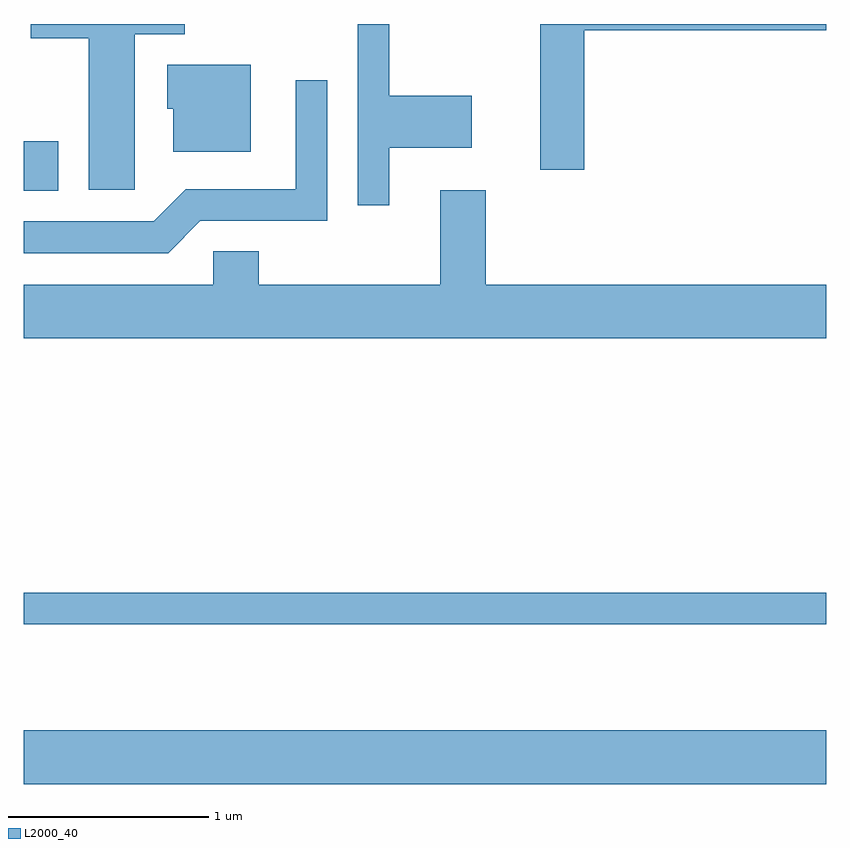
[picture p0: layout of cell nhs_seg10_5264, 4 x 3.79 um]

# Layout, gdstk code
import gdstk
lib = gdstk.Library(unit=1e-6, precision=1e-09)
def R(c, l, rs):  # rectangles x0, y0, x1, y1
    for r in rs: c.add(gdstk.rectangle(r[:2], r[2:], *l))
def P(c, l, *ps):  # polygons
    for p in ps: c.add(gdstk.Polygon(p, *l))
L2000_40 = (2000, 40)

nhs_seg10_5264 = lib.new_cell('nhs_seg10_5264')
R(nhs_seg10_5264, L2000_40, [(339.611,2182.736,343.611,2183.004), (339.611,2183.531,343.611,2183.689), (339.611,2185.691,339.784,2185.939)])
P(nhs_seg10_5264, L2000_40, [(341.434,2185.906),(341.844,2185.906),(341.844,2186.164),(341.434,2186.164),(341.434,2186.522),(341.276,2186.522),(341.276,2185.618),(341.434,2185.618)],
  [(342.404,2186.491),(343.611,2186.491),(343.611,2186.522),(342.186,2186.522),(342.186,2185.796),(342.404,2185.796)],
  [(340.164,2186.471),(340.414,2186.471),(340.414,2186.522),(339.646,2186.522),(339.646,2186.451),(339.936,2186.451),(339.936,2185.696),(340.164,2185.696)],
  [(340.744,2186.319),(340.326,2186.319),(340.326,2186.101),(340.356,2186.101),(340.356,2185.886),(340.744,2185.886)],
  [(340.492,2185.541),(341.124,2185.541),(341.124,2186.243),(340.966,2186.243),(340.966,2185.699),(340.419,2185.699),(340.259,2185.539),(339.611,2185.539),(339.611,2185.381),(340.332,2185.381)],
  [(343.611,2185.224),(341.914,2185.224),(341.914,2185.694),(341.686,2185.694),(341.686,2185.224),(340.784,2185.224),(340.784,2185.389),(340.556,2185.389),(340.556,2185.224),(339.611,2185.224),(339.611,2184.956),(343.611,2184.956)])

lib.write_gds('nhs_seg10_5264.gds')
